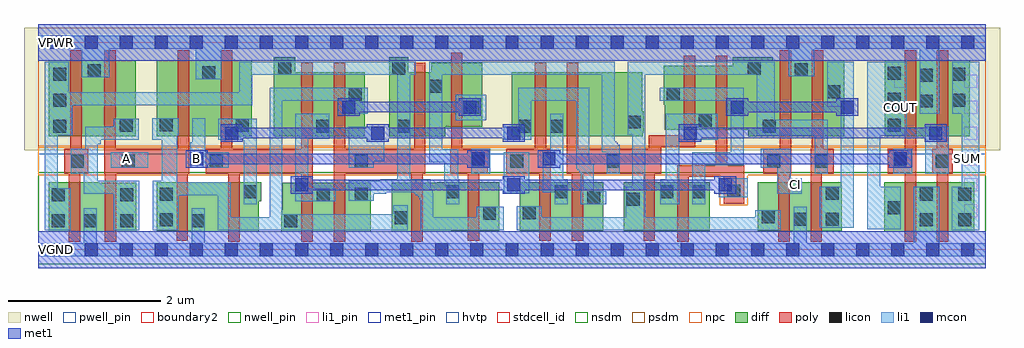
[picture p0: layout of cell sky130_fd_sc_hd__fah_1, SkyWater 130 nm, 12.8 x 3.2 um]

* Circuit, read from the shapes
.subckt sky130_fd_sc_hd__fah_1 A B CI COUT SUM VGND VNB VPB VPWR
XM1 VGND n1 n2 VNB sky130_fd_pr__nfet_01v8 w=0.65 l=0.15
XM2 n1 A VGND VNB sky130_fd_pr__nfet_01v8 w=0.64 l=0.15
XM3 VGND A n3 VNB sky130_fd_pr__nfet_01v8 w=0.64 l=0.15
XM4 n4 B VGND VNB sky130_fd_pr__nfet_01v8 w=0.65 l=0.15
XM5 n5 B n3 VNB sky130_fd_pr__nfet_01v8 w=0.64 l=0.15
XM6 n2 n4 n5 VNB sky130_fd_pr__nfet_01v8 w=0.64 l=0.15
XM7 n6 n4 n3 VNB sky130_fd_pr__nfet_01v8 w=0.64 l=0.15
XM8 n2 B n6 VNB sky130_fd_pr__nfet_01v8 w=0.64 l=0.15
XM9 n7 n5 n8 VNB sky130_fd_pr__nfet_01v8 w=0.64 l=0.15
XM10 n4 n6 n7 VNB sky130_fd_pr__nfet_01v8 w=0.64 l=0.15
XM11 n9 n6 n8 VNB sky130_fd_pr__nfet_01v8 w=0.64 l=0.15
XM12 n10 n5 n9 VNB sky130_fd_pr__nfet_01v8 w=0.64 l=0.15
XM13 VGND CI n8 VNB sky130_fd_pr__nfet_01v8 w=0.64 l=0.15
XM14 n10 n8 VGND VNB sky130_fd_pr__nfet_01v8 w=0.64 l=0.15
XM15 VGND n7 COUT VNB sky130_fd_pr__nfet_01v8 w=0.65 l=0.15
XM16 SUM n9 VGND VNB sky130_fd_pr__nfet_01v8 w=0.65 l=0.15
XM17 VPWR n1 n2 VPB sky130_fd_pr__pfet_01v8_hvt w=1 l=0.15
XM18 n1 A VPWR VPB sky130_fd_pr__pfet_01v8_hvt w=1 l=0.15
XM19 VPWR A n3 VPB sky130_fd_pr__pfet_01v8_hvt w=1 l=0.15
XM20 n4 B VPWR VPB sky130_fd_pr__pfet_01v8_hvt w=1 l=0.15
XM21 n5 B n2 VPB sky130_fd_pr__pfet_01v8_hvt w=0.84 l=0.15
XM22 n3 n4 n5 VPB sky130_fd_pr__pfet_01v8_hvt w=0.84 l=0.15
XM23 n6 n4 n2 VPB sky130_fd_pr__pfet_01v8_hvt w=0.84 l=0.15
XM24 n3 B n6 VPB sky130_fd_pr__pfet_01v8_hvt w=0.84 l=0.15
XM25 n7 n5 n4 VPB sky130_fd_pr__pfet_01v8_hvt w=0.84 l=0.15
XM26 n8 n6 n7 VPB sky130_fd_pr__pfet_01v8_hvt w=0.84 l=0.15
XM27 n9 n6 n10 VPB sky130_fd_pr__pfet_01v8_hvt w=0.84 l=0.15
XM28 n8 n5 n9 VPB sky130_fd_pr__pfet_01v8_hvt w=0.84 l=0.15
XM29 VPWR CI n8 VPB sky130_fd_pr__pfet_01v8_hvt w=1 l=0.15
XM30 n10 n8 VPWR VPB sky130_fd_pr__pfet_01v8_hvt w=1 l=0.15
XM31 VPWR n7 COUT VPB sky130_fd_pr__pfet_01v8_hvt w=1 l=0.15
XM32 SUM n9 VPWR VPB sky130_fd_pr__pfet_01v8_hvt w=1 l=0.15
.ends

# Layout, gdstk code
import gdstk
lib = gdstk.Library(unit=1e-6, precision=1e-09)
def R(c, l, rs):  # rectangles x0, y0, x1, y1
    for r in rs: c.add(gdstk.rectangle(r[:2], r[2:], *l))
def A(c, l, x, y, w, h, nx, ny, dx, dy):  # array of equal rectangles
    R(c, l, [(x+i*dx, y+j*dy, x+i*dx+w, y+j*dy+h) for i in range(nx) for j in range(ny)])
def P(c, l, *ps):  # polygons
    for p in ps: c.add(gdstk.Polygon(p, *l))
nwell_pin = (64, 16)
nwell = (64, 20)
diff = (65, 20)
poly = (66, 20)
licon = (66, 44)
li1_pin = (67, 16)
li1 = (67, 20)
mcon = (67, 44)
met1_pin = (68, 16)
met1 = (68, 20)
hvtp = (78, 44)
stdcell_id = (81, 4)
nsdm = (93, 44)
psdm = (94, 20)
npc = (95, 20)
pwell_pin = (122, 16)
boundary2 = (236, 0)

sky130_fd_sc_hd__fah_1 = lib.new_cell('sky130_fd_sc_hd__fah_1')
R(sky130_fd_sc_hd__fah_1, nwell_pin, [(0.145,2.635,0.315,2.805)])
R(sky130_fd_sc_hd__fah_1, nwell, [(-0.19,1.305,12.61,2.91)])
R(sky130_fd_sc_hd__fah_1, diff, [(11.09,0.235,12.27,0.885), (6.31,0.245,7.405,0.885), (7.675,0.245,8.805,0.885), (9.435,0.245,10.535,0.885), (0.135,1.485,1.275,2.485), (1.55,1.485,2.8,2.485), (11.1,1.485,12.215,2.485)])
P(sky130_fd_sc_hd__fah_1, diff, [(10.57,2.485),(9.63,2.485),(9.63,2.525),(9.105,2.525),(9.105,2.415),(8.2,2.415),(8.2,1.9),(8.21,1.9),(8.21,1.575),(9.31,1.575),(9.31,1.485),(10.57,1.485)],
  [(7.94,1.815),(7.92,1.815),(7.92,2.325),(6.205,2.325),(6.205,1.485),(7.925,1.485),(7.925,1.535),(7.935,1.535),(7.935,1.54),(7.94,1.54)],
  [(6.04,0.885),(5.225,0.885),(5.225,0.875),(4.63,0.875),(4.63,0.235),(5.4,0.235),(5.4,0.245),(6.04,0.245)],
  [(5.82,2.45),(5.15,2.45),(5.15,2.325),(4.85,2.325),(4.85,2.525),(4.6,2.525),(4.6,1.485),(5.335,1.485),(5.335,1.61),(5.82,1.61)],
  [(4.36,0.875),(3.195,0.875),(3.195,0.52),(3.185,0.52),(3.185,0.235),(4.36,0.235)],
  [(4.28,2.325),(3.37,2.325),(3.37,2.525),(3.085,2.525),(3.085,1.485),(4.28,1.485)],
  [(2.92,0.885),(1.55,0.885),(1.55,0.245),(2.155,0.245),(2.155,0.235),(2.89,0.235),(2.89,0.635),(2.92,0.635)],
  [(1.28,0.875),(0.795,0.875),(0.795,0.885),(0.135,0.885),(0.135,0.235),(1.28,0.235)])
R(sky130_fd_sc_hd__fah_1, poly, [(0.395,0.105,0.545,1.01), (2.49,0.105,2.64,1), (4.89,0.105,5.04,0.995), (1.81,0.115,1.96,1.01), (5.63,0.115,5.78,1.005), (7.935,0.115,8.085,0.995), (0.335,0.995,0.655,1.325), (5.4,0.995,5.895,1.325), (0.415,1.315,0.565,2.615), (5.41,1.315,5.56,2.58)])
P(sky130_fd_sc_hd__fah_1, poly, [(11.99,1.325),(11.93,1.325),(11.93,2.615),(11.78,2.615),(11.78,1.325),(11.72,1.325),(11.72,0.995),(11.78,0.995),(11.78,0.105),(11.93,0.105),(11.93,0.995),(11.99,0.995)],
  [(11.51,2.615),(11.36,2.615),(11.36,1.325),(11.14,1.325),(11.14,0.995),(11.36,0.995),(11.36,0.105),(11.51,0.105)],
  [(10.43,1.325),(10.29,1.325),(10.29,2.615),(10.14,2.615),(10.14,1.325),(10.125,1.325),(10.125,0.105),(10.275,0.105),(10.275,0.995),(10.43,0.995)],
  [(9.87,2.615),(9.72,2.615),(9.72,1.325),(9.505,1.325),(9.505,0.995),(9.705,0.995),(9.705,0.105),(9.855,0.105),(9.855,0.995),(9.87,0.995)],
  [(9.255,1.105),(9.03,1.105),(9.03,2.545),(8.88,2.545),(8.88,1.11),(8.375,1.11),(8.375,0.105),(8.525,0.105),(8.525,0.96),(8.985,0.96),(8.985,0.605),(9.255,0.605)],
  [(8.61,2.545),(8.46,2.545),(8.46,1.5),(8.005,1.5),(8.005,1.325),(7.08,1.325),(7.08,2.455),(6.93,2.455),(6.93,0.995),(6.995,0.995),(6.995,0.115),(7.145,0.115),(7.145,0.995),(8.165,0.995),(8.165,1.35),(8.61,1.35)],
  [(1.975,2.615),(1.825,2.615),(1.825,1.325),(1.015,1.325),(1.015,2.615),(0.865,2.615),(0.865,0.995),(0.87,0.995),(0.87,0.105),(1.02,0.105),(1.02,0.995),(1.975,0.995)],
  [(3.595,2.455),(3.445,2.455),(3.445,1.325),(2.54,1.325),(2.54,2.615),(2.39,2.615),(2.39,1.325),(2.195,1.325),(2.195,0.995),(3.445,0.995),(3.445,0.105),(3.595,0.105)],
  [(6.72,1.325),(6.66,1.325),(6.66,2.455),(6.51,2.455),(6.51,1.325),(6.135,1.325),(6.135,0.995),(6.57,0.995),(6.57,0.115),(6.72,0.115)],
  [(5.075,2.455),(4.925,2.455),(4.925,1.325),(4.02,1.325),(4.02,2.455),(3.87,2.455),(3.87,0.105),(4.02,0.105),(4.02,0.995),(5.075,0.995)])
A(sky130_fd_sc_hd__fah_1, licon, 0.195, 1.535, 0.17, 0.17, 1, 3, 0, 0.34)
A(sky130_fd_sc_hd__fah_1, licon, 11.14, 1.55, 0.17, 0.17, 1, 3, 0, 0.34)
R(sky130_fd_sc_hd__fah_1, licon, [(0.175,0.295,0.345,0.465), (0.595,0.295,0.765,0.465), (1.07,0.295,1.24,0.465), (2.01,0.295,2.18,0.465), (3.225,0.295,3.395,0.465), (1.59,0.305,1.76,0.475), (11.56,0.305,11.73,0.475), (12.06,0.305,12.23,0.475), (9.905,0.315,10.075,0.485), (10.325,0.315,10.495,0.485), (4.67,0.335,4.84,0.505), (9.485,0.345,9.655,0.515), (5.83,0.395,6,0.565), (6.35,0.4,6.52,0.57), (11.14,0.465,11.31,0.635), (7.715,0.575,7.885,0.745), (7.195,0.595,7.365,0.765), (0.175,0.635,0.345,0.805), (1.07,0.635,1.24,0.805), (3.65,0.635,3.82,0.805), (1.59,0.645,1.76,0.815), (4.15,0.645,4.32,0.815), (11.56,0.645,11.73,0.815), (12.06,0.645,12.23,0.815), (10.325,0.655,10.495,0.825), (2.69,0.675,2.86,0.845), (5.35,0.675,5.52,0.845), (6.77,0.675,6.94,0.845), (8.155,0.675,8.325,0.845), (8.575,0.675,8.745,0.845), (9.035,0.685,9.205,0.855), (0.425,1.075,0.595,1.245), (1.09,1.075,1.26,1.245), (2.245,1.075,2.415,1.245), (4.15,1.075,4.32,1.245), (5.675,1.075,5.845,1.245), (6.185,1.075,6.355,1.245), (7.45,1.075,7.62,1.245), (9.555,1.075,9.725,1.245), (10.18,1.075,10.35,1.245), (11.21,1.075,11.38,1.245), (11.77,1.075,11.94,1.245), (3.645,1.535,3.815,1.705), (4.705,1.535,4.875,1.705), (6.29,1.535,6.46,1.705), (6.71,1.535,6.88,1.705), (9.5,1.535,9.67,1.705), (1.065,1.545,1.235,1.715), (2.59,1.545,2.76,1.715), (1.59,1.555,1.76,1.725), (7.73,1.59,7.9,1.76), (8.66,1.615,8.83,1.785), (5.61,1.78,5.78,1.95), (11.56,1.865,11.73,2.035), (11.985,1.875,12.155,2.045), (4.07,1.955,4.24,2.125), (8.24,1.955,8.41,2.125), (10.345,1.985,10.515,2.155), (5.125,2.06,5.295,2.23), (11.56,2.205,11.73,2.375), (11.985,2.215,12.155,2.385), (2.145,2.235,2.315,2.405), (0.645,2.26,0.815,2.43), (9.92,2.275,10.09,2.445), (3.145,2.295,3.315,2.465), (4.64,2.295,4.81,2.465), (9.305,2.295,9.475,2.465)])
A(sky130_fd_sc_hd__fah_1, li1_pin, 12.14, 0.425, 0.17, 0.17, 1, 6, 0, 0.34)
R(sky130_fd_sc_hd__fah_1, li1_pin, [(9.84,0.765,10.01,0.935), (1.065,1.105,1.235,1.275), (1.99,1.105,2.16,1.275), (11.22,1.785,11.39,1.955), (11.22,2.125,11.39,2.295)])
R(sky130_fd_sc_hd__fah_1, li1, [(8.92,0.685,9.3,0.935), (6.105,0.74,6.435,1.275), (5.675,0.995,5.925,1.325), (11.21,0.995,11.46,1.325), (11.63,0.995,11.94,1.615), (0.95,1.075,1.44,1.275), (5.475,1.7,5.875,2.03), (9.42,1.705,9.655,2.295), (3.985,1.785,4.32,2.125), (3.03,1.955,4.03,2.125), (6.3,1.955,7.215,2.125)])
P(sky130_fd_sc_hd__fah_1, li1, [(4.84,0.585),(4.65,0.585),(4.65,0.465),(3.2,0.465),(3.2,2.03),(3.03,2.03),(3.03,0.425),(2.52,0.425),(2.52,0.885),(1.82,0.885),(1.82,1.5),(1.84,1.5),(1.84,1.725),(1.49,1.725),(1.49,1.445),(1.615,1.445),(1.615,0.905),(1.5,0.905),(1.5,0.255),(1.84,0.255),(1.84,0.715),(2.35,0.715),(2.35,0.255),(4.84,0.255)],
  [(12.42,0.085),(11.81,0.085),(11.81,0.825),(11.48,0.825),(11.48,0.085),(10.075,0.085),(10.075,0.565),(9.905,0.565),(9.905,0.085),(2.18,0.085),(2.18,0.545),(2.01,0.545),(2.01,0.085),(0.765,0.085),(0.765,0.545),(0.595,0.545),(0.595,0.085),(0,0.085),(0,-0.085),(12.42,-0.085)],
  [(12.42,2.805),(0,2.805),(0,2.635),(0.565,2.635),(0.565,2.26),(0.93,2.26),(0.93,2.635),(2.065,2.635),(2.065,2.235),(2.395,2.235),(2.395,2.635),(9.84,2.635),(9.84,2.275),(10.175,2.275),(10.175,2.635),(11.56,2.635),(11.56,1.785),(11.815,1.785),(11.815,2.635),(12.42,2.635)],
  [(12.335,2.465),(11.985,2.465),(11.985,1.785),(12.11,1.785),(12.11,0.825),(11.98,0.825),(11.98,0.255),(12.335,0.255)],
  [(11.39,2.465),(10.87,2.465),(10.87,0.27),(11.31,0.27),(11.31,0.825),(11.04,0.825),(11.04,1.495),(11.39,1.495)],
  [(10.69,2.465),(10.345,2.465),(10.345,1.875),(10.52,1.875),(10.52,0.825),(10.245,0.825),(10.245,0.285),(10.69,0.285)],
  [(7.62,1.375),(7.595,1.375),(7.595,1.4),(7.575,1.4),(7.575,1.425),(7.56,1.425),(7.56,2.465),(5.125,2.465),(5.125,1.15),(5.32,1.15),(5.32,0.865),(5.335,0.865),(5.335,0.84),(5.35,0.84),(5.35,0.595),(5.52,0.595),(5.52,0.925),(5.505,0.925),(5.505,1.32),(5.295,1.32),(5.295,2.295),(7.39,2.295),(7.39,1.275),(7.45,1.275),(7.45,0.995),(7.62,0.995)],
  [(10.35,1.705),(9.42,1.705),(9.42,1.495),(10.18,1.495),(10.18,0.995),(10.35,0.995)],
  [(10.01,0.935),(9.865,0.935),(9.865,1.325),(9.475,1.325),(9.475,1.075),(9.69,1.075),(9.69,0.735),(10.01,0.735)],
  [(9.735,0.515),(9.4,0.515),(9.4,0.425),(7.96,0.425),(7.96,2.295),(9.655,2.295),(9.655,2.465),(7.73,2.465),(7.73,1.51),(7.79,1.51),(7.79,0.825),(7.705,0.825),(7.705,0.425),(6.6,0.425),(6.6,0.57),(6.27,0.57),(6.27,0.255),(9.735,0.255)],
  [(8.91,1.785),(8.225,1.785),(8.225,0.925),(8.155,0.925),(8.155,0.595),(8.405,0.595),(8.405,1.445),(8.91,1.445)],
  [(1.32,0.905),(0.78,0.905),(0.78,1.38),(0.815,1.38),(0.815,1.445),(1.315,1.445),(1.315,1.715),(0.985,1.715),(0.985,1.615),(0.615,1.615),(0.615,1.455),(0.61,1.455),(0.61,1.325),(0.425,1.325),(0.425,0.995),(0.595,0.995),(0.595,0.735),(0.99,0.735),(0.99,0.255),(1.32,0.255)],
  [(2.495,1.275),(2.19,1.275),(2.19,1.725),(2.015,1.725),(2.015,1.41),(1.99,1.41),(1.99,1.075),(2.495,1.075)],
  [(7.445,0.765),(7.28,0.765),(7.28,1.13),(7.245,1.13),(7.245,1.175),(7.22,1.175),(7.22,2.125),(7.05,2.125),(7.05,1.06),(7.065,1.06),(7.065,1.045),(7.09,1.045),(7.09,1.01),(7.11,1.01),(7.11,0.595),(7.445,0.595)],
  [(6.94,0.925),(6.88,0.925),(6.88,1.785),(6.71,1.785),(6.71,1.275),(6.61,1.275),(6.61,0.755),(6.77,0.755),(6.77,0.595),(6.94,0.595)],
  [(6.1,0.565),(5.75,0.565),(5.75,0.425),(5.18,0.425),(5.18,0.74),(5.17,0.74),(5.17,0.78),(5.155,0.78),(5.155,0.805),(5.145,0.805),(5.145,0.925),(4.875,0.925),(4.875,2.295),(4.95,2.295),(4.95,2.465),(2.635,2.465),(2.635,2.065),(0.395,2.065),(0.395,2.465),(0.085,2.465),(0.085,0.255),(0.425,0.255),(0.425,0.805),(0.255,0.805),(0.255,1.5),(0.445,1.5),(0.445,1.895),(2.805,1.895),(2.805,2.295),(4.705,2.295),(4.705,0.925),(4.48,0.925),(4.48,0.905),(4.07,0.905),(4.07,0.645),(4.4,0.645),(4.4,0.735),(4.56,0.735),(4.56,0.755),(4.925,0.755),(4.925,0.735),(4.95,0.735),(4.95,0.715),(4.98,0.715),(4.98,0.69),(5,0.69),(5,0.655),(5.01,0.655),(5.01,0.255),(6.1,0.255)],
  [(4.535,1.615),(4.07,1.615),(4.07,1.075),(4.4,1.075),(4.4,1.16),(4.535,1.16)],
  [(3.9,0.805),(3.54,0.805),(3.54,1.455),(3.815,1.455),(3.815,1.785),(3.37,1.785),(3.37,0.635),(3.9,0.635)],
  [(2.86,1.715),(2.36,1.715),(2.36,1.445),(2.69,1.445),(2.69,0.595),(2.86,0.595)],
  [(6.46,2.125),(6.29,2.125),(6.29,1.615),(6.105,1.615),(6.105,1.445),(6.46,1.445)],
  [(9.25,2.125),(8.145,2.125),(8.145,1.955),(9.08,1.955),(9.08,1.275),(8.575,1.275),(8.575,0.595),(8.745,0.595),(8.745,1.105),(9.25,1.105)])
A(sky130_fd_sc_hd__fah_1, mcon, 0.145, -0.085, 0.17, 0.17, 27, 2, 0.46, 2.72)
R(sky130_fd_sc_hd__fah_1, mcon, [(3.37,0.765,3.54,0.935), (6.15,0.765,6.32,0.935), (8.92,0.765,9.09,0.935), (1.99,1.105,2.16,1.275), (5.68,1.105,5.85,1.275), (6.61,1.105,6.78,1.275), (11.22,1.105,11.39,1.275), (2.45,1.445,2.62,1.615), (4.365,1.445,4.535,1.615), (6.15,1.445,6.32,1.615), (8.46,1.445,8.63,1.615), (11.68,1.445,11.85,1.615), (3.985,1.785,4.155,1.955), (5.57,1.785,5.74,1.955), (9.08,1.785,9.25,1.955), (10.52,1.785,10.69,1.955)])
R(sky130_fd_sc_hd__fah_1, met1_pin, [(0.145,-0.085,0.315,0.085), (0.145,2.635,0.315,2.805)])
R(sky130_fd_sc_hd__fah_1, met1, [(6.09,1.415,6.38,1.645), (3.925,1.755,4.215,1.985), (5.51,1.755,5.8,1.985), (9.02,1.755,9.31,1.985), (10.46,1.755,10.75,1.985), (3.945,1.8,5.735,1.94)])
P(sky130_fd_sc_hd__fah_1, met1, [(5.91,1.305),(5.62,1.305),(5.62,1.26),(2.22,1.26),(2.22,1.305),(1.93,1.305),(1.93,1.075),(2.22,1.075),(2.22,1.12),(5.62,1.12),(5.62,1.075),(5.91,1.075)],
  [(9.15,0.965),(8.86,0.965),(8.86,0.92),(6.38,0.92),(6.38,0.965),(6.09,0.965),(6.09,0.92),(3.6,0.92),(3.6,0.965),(3.31,0.965),(3.31,0.735),(3.6,0.735),(3.6,0.78),(6.09,0.78),(6.09,0.735),(6.38,0.735),(6.38,0.78),(8.86,0.78),(8.86,0.735),(9.15,0.735)],
  [(11.45,1.305),(11.16,1.305),(11.16,1.26),(6.84,1.26),(6.84,1.305),(6.55,1.305),(6.55,1.075),(6.84,1.075),(6.84,1.12),(11.16,1.12),(11.16,1.075),(11.45,1.075)],
  [(11.91,1.645),(11.62,1.645),(11.62,1.6),(8.69,1.6),(8.69,1.645),(8.4,1.645),(8.4,1.415),(8.69,1.415),(8.69,1.46),(11.62,1.46),(11.62,1.415),(11.91,1.415)],
  [(6.335,1.6),(4.595,1.6),(4.595,1.645),(4.305,1.645),(4.305,1.6),(2.68,1.6),(2.68,1.645),(2.39,1.645),(2.39,1.415),(2.68,1.415),(2.68,1.46),(4.305,1.46),(4.305,1.415),(4.595,1.415),(4.595,1.46),(6.335,1.46)],
  [(10.69,1.94),(9.31,1.94),(9.31,1.985),(9.02,1.985),(9.02,1.755),(9.31,1.755),(9.31,1.8),(10.69,1.8)])
R(sky130_fd_sc_hd__fah_1, hvtp, [(0,1.25,12.42,2.72)])
R(sky130_fd_sc_hd__fah_1, stdcell_id, [(0,0,12.42,2.72)])
R(sky130_fd_sc_hd__fah_1, nsdm, [(0,-0.19,12.42,1.015)])
R(sky130_fd_sc_hd__fah_1, psdm, [(0,1.355,12.42,2.91)])
P(sky130_fd_sc_hd__fah_1, npc, [(12.42,1.345),(0,1.345),(0,0.975),(8.935,0.975),(8.935,0.585),(9.305,0.585),(9.305,0.975),(12.42,0.975)])
R(sky130_fd_sc_hd__fah_1, pwell_pin, [(0.145,-0.085,0.315,0.085)])
R(sky130_fd_sc_hd__fah_1, boundary2, [(0,0,12.42,2.72)])
sky130_fd_sc_hd__fah_1.add(gdstk.FlexPath([(0,0),(12.42,0)], 0.48, ends="flush", simple_path=True, layer=68, datatype=20))  # met1
sky130_fd_sc_hd__fah_1.add(gdstk.FlexPath([(0,2.72),(12.42,2.72)], 0.48, ends="flush", simple_path=True, layer=68, datatype=20))  # met1
sky130_fd_sc_hd__fah_1.add(gdstk.Label('COUT', (11.305,1.87), layer=67, texttype=5))
sky130_fd_sc_hd__fah_1.add(gdstk.Label('B', (2.075,1.19), layer=67, texttype=5))
sky130_fd_sc_hd__fah_1.add(gdstk.Label('A', (1.15,1.19), layer=67, texttype=5))
sky130_fd_sc_hd__fah_1.add(gdstk.Label('SUM', (12.19,1.19), layer=67, texttype=5))
sky130_fd_sc_hd__fah_1.add(gdstk.Label('CI', (9.925,0.85), layer=67, texttype=5))
sky130_fd_sc_hd__fah_1.add(gdstk.Label('B', (2.075,1.19), layer=68, texttype=5))
sky130_fd_sc_hd__fah_1.add(gdstk.Label('VPWR', (0.23,2.72), layer=68, texttype=5))
sky130_fd_sc_hd__fah_1.add(gdstk.Label('VGND', (0.23,0), layer=68, texttype=5))
sky130_fd_sc_hd__fah_1.add(gdstk.Label('VNB', (0.23,0), layer=64, texttype=59))
sky130_fd_sc_hd__fah_1.add(gdstk.Label('VPB', (0.23,2.72), layer=64, texttype=5))
sky130_fd_sc_hd__fah_1.add(gdstk.Label('fah_1', (0,0), layer=83, texttype=44))

lib.write_gds('sky130_fd_sc_hd__fah_1.gds')
